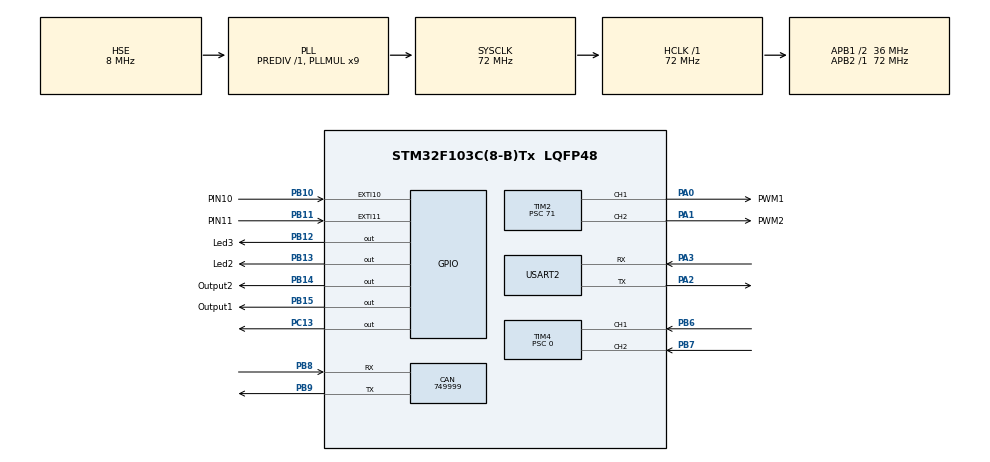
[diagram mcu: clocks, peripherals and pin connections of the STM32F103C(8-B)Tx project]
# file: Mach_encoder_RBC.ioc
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CAN.CalculateBaudRate=749999
CAN.CalculateTimeBit=1333
CAN.CalculateTimeQuantum=444.44444444444446
Mcu.Family=STM32F1
Mcu.Name=STM32F103C(8-B)Tx
Mcu.Package=LQFP48
NVIC.EXTI15_10_IRQn=true\:0\:0\:false\:false\:true\:true\:true\:true
NVIC.PriorityGroup=NVIC_PRIORITYGROUP_4
NVIC.TIM3_IRQn=true\:0\:0\:false\:false\:true\:true\:true\:true
PA0-WKUP.GPIO_Label=PWM1
PA0-WKUP.GPIO_Speed=GPIO_SPEED_FREQ_HIGH
PA0-WKUP.Signal=S_TIM2_CH1_ETR
PA1.GPIO_Label=PWM2
PA1.GPIO_Speed=GPIO_SPEED_FREQ_HIGH
PA1.Signal=S_TIM2_CH2
PA13.Mode=Serial_Wire
PA13.Signal=SYS_JTMS-SWDIO
PA14.Mode=Serial_Wire
PA14.Signal=SYS_JTCK-SWCLK
PA2.Mode=Asynchronous
PA2.Signal=USART2_TX
PA3.Mode=Asynchronous
PA3.Signal=USART2_RX
PB10.GPIO_Label=PIN10
PB10.GPIO_ModeDefaultEXTI=GPIO_MODE_IT_RISING
PB10.GPIO_PuPd=GPIO_PULLDOWN
PB10.Signal=GPXTI10
PB11.GPIO_Label=PIN11
PB11.GPIO_PuPd=GPIO_PULLDOWN
PB11.Signal=GPXTI11
PB12.GPIO_Label=Led3
PB12.Signal=GPIO_Output
PB13.GPIO_Label=Led2
PB13.Signal=GPIO_Output
PB14.GPIO_Label=Output2
PB14.Signal=GPIO_Output
PB15.GPIO_Label=Output1
PB15.Signal=GPIO_Output
PB6.GPIO_PuPd=GPIO_PULLUP
PB6.Signal=S_TIM4_CH1
PB7.GPIO_PuPd=GPIO_PULLUP
PB7.Signal=S_TIM4_CH2
PB8.Mode=CAN_Activate
PB8.Signal=CAN_RX
PB9.Mode=CAN_Activate
PB9.Signal=CAN_TX
PC13-TAMPER-RTC.GPIO_PuPd=GPIO_PULLUP
PC13-TAMPER-RTC.Signal=GPIO_Output
PD0-OSC_IN.Mode=HSE-External-Oscillator
PD0-OSC_IN.Signal=RCC_OSC_IN
PD1-OSC_OUT.Mode=HSE-External-Oscillator
PD1-OSC_OUT.Signal=RCC_OSC_OUT
ProjectManager.HeapSize=0x200
ProjectManager.StackSize=0x400
ProjectManager.TargetToolchain=STM32CubeIDE
RCC.AHBFreq_Value=72000000
RCC.APB1CLKDivider=RCC_HCLK_DIV2
RCC.APB1Freq_Value=36000000
RCC.APB1TimFreq_Value=72000000
RCC.APB2Freq_Value=72000000
RCC.APB2TimFreq_Value=72000000
RCC.HCLKFreq_Value=72000000
RCC.PLLMUL=RCC_PLL_MUL9
RCC.PLLSourceVirtual=RCC_PLLSOURCE_HSE
RCC.SYSCLKFreq_VALUE=72000000
RCC.SYSCLKSource=RCC_SYSCLKSOURCE_PLLCLK
RCC.USBFreq_Value=72000000
SH.S_TIM2_CH1_ETR.0=TIM2_CH1,PWM Generation1 CH1
SH.S_TIM2_CH2.0=TIM2_CH2,PWM Generation2 CH2
SH.S_TIM4_CH1.0=TIM4_CH1,Encoder_Interface
SH.S_TIM4_CH2.0=TIM4_CH2,Encoder_Interface
TIM2.Channel-PWM\ Generation1\ CH1=TIM_CHANNEL_1
TIM2.Channel-PWM\ Generation2\ CH2=TIM_CHANNEL_2
TIM2.Period=999
TIM2.Prescaler=71
TIM3.Period=199
TIM3.Prescaler=7199
TIM4.EncoderMode=TIM_ENCODERMODE_TI12
TIM4.IC1Filter=0
TIM4.IC2Filter=0
TIM4.IC2Polarity=TIM_ICPOLARITY_RISING
TIM4.Period=65535
TIM4.Prescaler=0
USART2.VirtualMode=VM_ASYNC
VP_TIM3_VS_ClockSourceINT.Mode=Internal
board=custom

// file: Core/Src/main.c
/* USER CODE BEGIN Header */
/**
  ******************************************************************************
  * @file           : main.c
  * @brief          : Main program body
  ******************************************************************************
  * @attention
  *
  * Copyright (c) 2026 STMicroelectronics.
  * All rights reserved.
  *
  * This software is licensed under terms that can be found in the LICENSE file
  * in the root directory of this software component.
  * If no LICENSE file comes with this software, it is provided AS-IS.
  *
  ******************************************************************************
  */
/* USER CODE END Header */
#include "main.h"
#include "can.h"
#include "tim.h"
#include "usart.h"
#include "gpio.h"

/* USER CODE BEGIN PV */
int16_t last = 0;
int32_t pos = 0;
volatile int32_t rpm = 0;
int speed = 900;
volatile int32_t cnt = 0;

typedef struct {
  volatile int8_t sts_tren;  // doc tu ngat EXTI (PB11)
  volatile int8_t sts_duoi;  // doc tu ngat EXTI (PB10)
  int8_t control;            // 0: dung, 1: len, 2: xuong
} Taygap;

Taygap tay = {0, 0, 0};

int tuan=0;
/* USER CODE END PV */

void SystemClock_Config(void);

/* USER CODE BEGIN 0 */

//ID CHIP ////////////////////////////////////////////////////////////////////////////////////////////////////////
int id=7;
/////////////////////////////////////////////////////////////////////////////////////////////////////////////////
uint8_t rx_Data[8];
uint8_t RxData[8];
CAN_RxHeaderTypeDef RxHeader;
volatile int Setpoint = 0;
int MAX_SPEED = 900;
uint8_t l = 0;

//CAN///////////////////////////////////////////////////////////////////////////////////////////////////////////////
void HAL_CAN_RxFifo0MsgPendingCallback(CAN_HandleTypeDef *hcan) {
    if (HAL_CAN_GetRxMessage(hcan, CAN_RX_FIFO0, &RxHeader, RxData) == HAL_OK) {
        if (RxHeader.StdId == 0x123) {
        	Setpoint = (RxData[6]-7.5)*(RxData[id-1]-100);
        	l=1-l;
					if(l)HAL_GPIO_TogglePin(GPIOC, GPIO_PIN_13);
					if(Setpoint>=MAX_SPEED)Setpoint=MAX_SPEED;
					if(Setpoint<=-MAX_SPEED)Setpoint=-MAX_SPEED;
        }
    }
}
///////////////////////////////////////////////////////////////////////////////////////////////////////////////////

void quay_thuan(int spd) {
	__HAL_TIM_SET_COMPARE(&htim2, TIM_CHANNEL_1, spd);
	__HAL_TIM_SET_COMPARE(&htim2, TIM_CHANNEL_2, 0);
}

void quay_nghich(int spd) {
	__HAL_TIM_SET_COMPARE(&htim2, TIM_CHANNEL_2, spd);
	__HAL_TIM_SET_COMPARE(&htim2, TIM_CHANNEL_1, 0);
}

void dung() {
	__HAL_TIM_SET_COMPARE(&htim2, TIM_CHANNEL_1, 0);
	__HAL_TIM_SET_COMPARE(&htim2, TIM_CHANNEL_2, 0);
}

void go_home() {
	if (tay.sts_duoi != 1) {
		quay_nghich(speed);
	} else {
		dung();
	}
}

void Tay_control() {
	switch (tay.control) {
		case 1:  // len
			if (tay.sts_tren == 1) {
				dung();
			} else {
				quay_thuan(speed);
			}
			break;
		case 2:  // xuong
			if (tay.sts_duoi == 1) {
				dung();
			} else {
				quay_nghich(speed);
			}
			break;
		default:  // dung
			dung();
			break;
	}
}

// Ngat TIM3: doc encoder
void HAL_TIM_PeriodElapsedCallback(TIM_HandleTypeDef *htim)
{
	if (htim->Instance == TIM3) {
		int32_t raw = (int32_t)__HAL_TIM_GET_COUNTER(&htim4);
		int16_t delta = (int16_t)(raw - last);
		last = (int16_t)raw;
		pos += delta;
		cnt = raw;
	}
}

/* USER CODE END 0 */

int main(void)
{

  /* MCU Configuration--------------------------------------------------------*/

  /* Reset of all peripherals, Initializes the Flash interface and the Systick. */
  HAL_Init();

  /* Configure the system clock */
  SystemClock_Config();

  /* Initialize all configured peripherals */
  MX_GPIO_Init();
  MX_CAN_Init();
  MX_TIM2_Init();
  MX_TIM4_Init();
  MX_USART2_UART_Init();
  MX_TIM3_Init();
  /* USER CODE BEGIN 2 */
  // CAN Filter Config (giong PID_Board)
//  CAN_FilterTypeDef sFilterConfig;
//  sFilterConfig.FilterBank = 0;
//  sFilterConfig.FilterMode = CAN_FILTERMODE_IDMASK;
//  sFilterConfig.FilterScale = CAN_FILTERSCALE_32BIT;
//  sFilterConfig.FilterIdHigh = 0x123 << 5;
//  sFilterConfig.FilterIdLow = 0x0000;
//  sFilterConfig.FilterMaskIdHigh = 0xFFE0;
//  sFilterConfig.FilterMaskIdLow = 0x0000;
//  sFilterConfig.FilterFIFOAssignment = CAN_RX_FIFO0;
//  sFilterConfig.FilterActivation = ENABLE;
//  if (HAL_CAN_ConfigFilter(&hcan, &sFilterConfig) != HAL_OK) {
//	  Error_Handler();
//  }
//
//  HAL_CAN_ActivateNotification(&hcan, CAN_IT_RX_FIFO0_MSG_PENDING);
//  if (HAL_CAN_Start(&hcan) != HAL_OK) {
//	  Error_Handler();
//  }
//
//  HAL_TIM_Encoder_Start(&htim4, TIM_CHANNEL_ALL);
//  HAL_TIM_Base_Start_IT(&htim3);
  HAL_TIM_PWM_Start(&htim2, TIM_CHANNEL_1);
  HAL_TIM_PWM_Start(&htim2, TIM_CHANNEL_2);
  /* USER CODE END 2 */

  /* Infinite loop */
  /* USER CODE BEGIN WHILE */
//  go_home();  // ve vi tri ban dau truoc khi bat dau

  while (1)
  {
	  // Tay_control();  // dieu khien tay gap theo control

    quay_thuan(speed);
    HAL_GPIO_TogglePin(GPIOC, GPIO_PIN_13);
    HAL_Delay(3000);
//    tuan++;
    quay_nghich(speed);
    HAL_GPIO_TogglePin(GPIOC, GPIO_PIN_13);
    HAL_Delay(3000);
    /* USER CODE END WHILE */

  }
}

void SystemClock_Config(void)
{
  RCC_OscInitTypeDef RCC_OscInitStruct = {0};
  RCC_ClkInitTypeDef RCC_ClkInitStruct = {0};

  /** Initializes the RCC Oscillators according to the specified parameters
  * in the RCC_OscInitTypeDef structure.
  */
  RCC_OscInitStruct.OscillatorType = RCC_OSCILLATORTYPE_HSE;
  RCC_OscInitStruct.HSEState = RCC_HSE_ON;
  RCC_OscInitStruct.HSEPredivValue = RCC_HSE_PREDIV_DIV1;
  RCC_OscInitStruct.HSIState = RCC_HSI_ON;
  RCC_OscInitStruct.PLL.PLLState = RCC_PLL_ON;
  RCC_OscInitStruct.PLL.PLLSource = RCC_PLLSOURCE_HSE;
  RCC_OscInitStruct.PLL.PLLMUL = RCC_PLL_MUL9;
  if (HAL_RCC_OscConfig(&RCC_OscInitStruct) != HAL_OK)
  {
    Error_Handler();
  }

  /** Initializes the CPU, AHB and APB buses clocks
  */
  RCC_ClkInitStruct.ClockType = RCC_CLOCKTYPE_HCLK|RCC_CLOCKTYPE_SYSCLK
                              |RCC_CLOCKTYPE_PCLK1|RCC_CLOCKTYPE_PCLK2;
  RCC_ClkInitStruct.SYSCLKSource = RCC_SYSCLKSOURCE_PLLCLK;
  RCC_ClkInitStruct.AHBCLKDivider = RCC_SYSCLK_DIV1;
  RCC_ClkInitStruct.APB1CLKDivider = RCC_HCLK_DIV2;
  RCC_ClkInitStruct.APB2CLKDivider = RCC_HCLK_DIV1;

  if (HAL_RCC_ClockConfig(&RCC_ClkInitStruct, FLASH_LATENCY_2) != HAL_OK)
  {
    Error_Handler();
  }
}

/* USER CODE BEGIN 4 */

//Ngat EXTI: doc cong tac hanh trinh tren va duoi
void HAL_GPIO_EXTI_Callback(uint16_t GPIO_Pin)
{
	if (GPIO_Pin == PIN11_Pin) {  // PB11 - cong tac tren
		tay.sts_tren = HAL_GPIO_ReadPin(PIN11_GPIO_Port, PIN11_Pin);
		if (tay.sts_tren == 1) {
			dung();  // dung motor ngay khi cham cong tac tren
		}
	}
	if (GPIO_Pin == PIN10_Pin) {  // PB10 - cong tac duoi
		tay.sts_duoi = HAL_GPIO_ReadPin(PIN10_GPIO_Port, PIN10_Pin);
		if (tay.sts_duoi == 1) {
			dung();  // dung motor ngay khi cham cong tac duoi
		}
	}
}

/* USER CODE END 4 */

void Error_Handler(void)
{
  __disable_irq();
  while (1)
  {
  }
}
